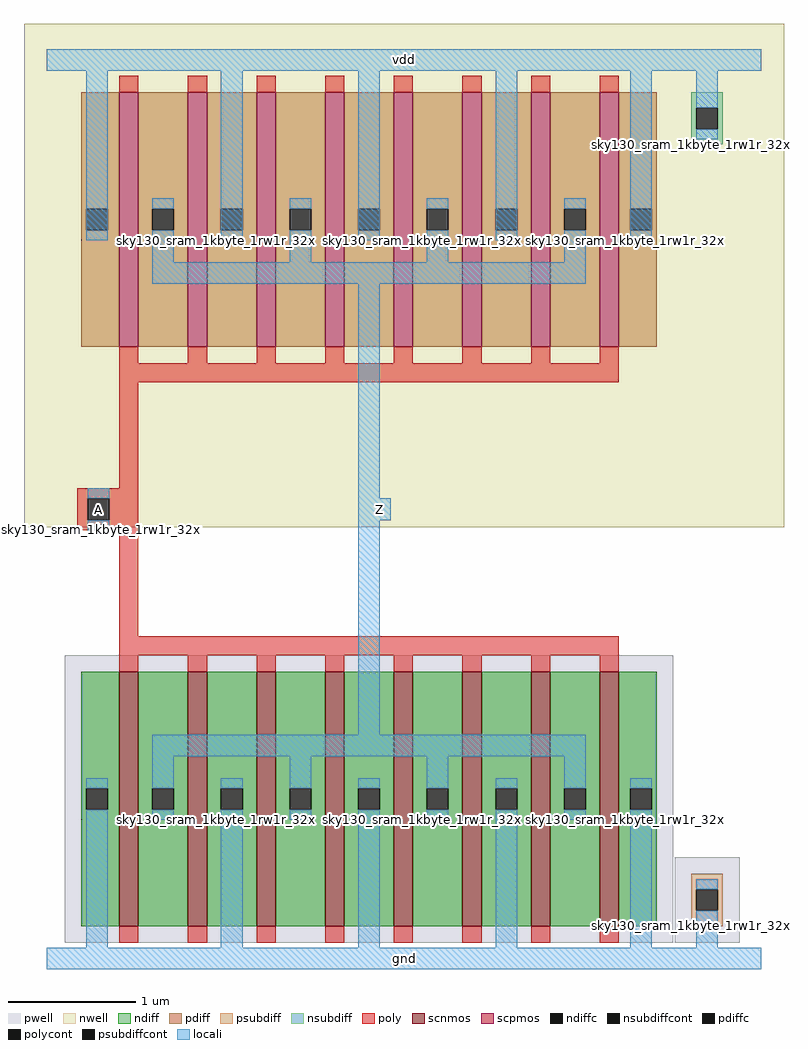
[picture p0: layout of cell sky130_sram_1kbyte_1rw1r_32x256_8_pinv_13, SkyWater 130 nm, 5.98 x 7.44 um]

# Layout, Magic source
magic
tech sky130A
magscale 1 2
<< nwell >>
rect -36 679 1160 1471
<< pwell >>
rect 988 25 1090 159
<< psubdiff >>
rect 1014 109 1064 133
rect 1014 75 1022 109
rect 1056 75 1064 109
rect 1014 51 1064 75
<< nsubdiff >>
rect 1014 1339 1064 1363
rect 1014 1305 1022 1339
rect 1056 1305 1064 1339
rect 1014 1281 1064 1305
<< psubdiffcont >>
rect 1022 75 1056 109
<< nsubdiffcont >>
rect 1022 1305 1056 1339
<< poly >>
rect 114 740 144 907
rect 48 724 144 740
rect 48 690 64 724
rect 98 690 144 724
rect 48 674 144 690
rect 114 507 144 674
<< polycont >>
rect 64 690 98 724
<< locali >>
rect 0 1397 1124 1431
rect 62 1130 96 1397
rect 274 1130 308 1397
rect 490 1130 524 1397
rect 706 1130 740 1397
rect 918 1130 952 1397
rect 1022 1339 1056 1397
rect 1022 1289 1056 1305
rect 64 724 98 740
rect 64 674 98 690
rect 490 724 524 1096
rect 490 690 541 724
rect 490 318 524 690
rect 62 17 96 218
rect 274 17 308 218
rect 490 17 524 218
rect 706 17 740 218
rect 918 17 952 218
rect 1022 109 1056 125
rect 1022 17 1056 75
rect 0 -17 1124 17
use sky130_sram_1kbyte_1rw1r_32x256_8_contact_16  sky130_sram_1kbyte_1rw1r_32x256_8_contact_16_0
transform 1 0 48 0 1 674
box 0 0 1 1
use sky130_sram_1kbyte_1rw1r_32x256_8_contact_29  sky130_sram_1kbyte_1rw1r_32x256_8_contact_29_0
transform 1 0 1014 0 1 51
box 0 0 1 1
use sky130_sram_1kbyte_1rw1r_32x256_8_contact_28  sky130_sram_1kbyte_1rw1r_32x256_8_contact_28_0
transform 1 0 1014 0 1 1281
box 0 0 1 1
use sky130_sram_1kbyte_1rw1r_32x256_8_nmos_m8_w2_000_sli_dli_da_p  sky130_sram_1kbyte_1rw1r_32x256_8_nmos_m8_w2_000_sli_dli_da_p_0
transform 1 0 54 0 1 51
box -26 -26 932 456
use sky130_sram_1kbyte_1rw1r_32x256_8_pmos_m8_w2_000_sli_dli_da_p  sky130_sram_1kbyte_1rw1r_32x256_8_pmos_m8_w2_000_sli_dli_da_p_0
transform 1 0 54 0 1 963
box -59 -56 965 454
<< labels >>
rlabel locali s 81 707 81 707 4 A
port 1 nsew
rlabel locali s 524 707 524 707 4 Z
port 2 nsew
rlabel locali s 562 0 562 0 4 gnd
port 3 nsew
rlabel locali s 562 1414 562 1414 4 vdd
port 4 nsew
<< properties >>
string FIXED_BBOX 0 0 1124 1414
string GDS_FILE $PDKPATH/libs.ref/sky130_sram_macros/gds/sky130_sram_1kbyte_1rw1r_32x256_8.gds
string GDS_END 367846
string GDS_START 365464
<< end >>

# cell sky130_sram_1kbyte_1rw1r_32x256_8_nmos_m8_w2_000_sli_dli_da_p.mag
magic
tech sky130A
magscale 1 2
<< pwell >>
rect -26 -26 932 426
<< scnmos >>
rect 60 0 90 400
rect 168 0 198 400
rect 276 0 306 400
rect 384 0 414 400
rect 492 0 522 400
rect 600 0 630 400
rect 708 0 738 400
rect 816 0 846 400
<< ndiff >>
rect 0 217 60 400
rect 0 183 8 217
rect 42 183 60 217
rect 0 0 60 183
rect 90 217 168 400
rect 90 183 112 217
rect 146 183 168 217
rect 90 0 168 183
rect 198 217 276 400
rect 198 183 220 217
rect 254 183 276 217
rect 198 0 276 183
rect 306 217 384 400
rect 306 183 328 217
rect 362 183 384 217
rect 306 0 384 183
rect 414 217 492 400
rect 414 183 436 217
rect 470 183 492 217
rect 414 0 492 183
rect 522 217 600 400
rect 522 183 544 217
rect 578 183 600 217
rect 522 0 600 183
rect 630 217 708 400
rect 630 183 652 217
rect 686 183 708 217
rect 630 0 708 183
rect 738 217 816 400
rect 738 183 760 217
rect 794 183 816 217
rect 738 0 816 183
rect 846 217 906 400
rect 846 183 864 217
rect 898 183 906 217
rect 846 0 906 183
<< ndiffc >>
rect 8 183 42 217
rect 112 183 146 217
rect 220 183 254 217
rect 328 183 362 217
rect 436 183 470 217
rect 544 183 578 217
rect 652 183 686 217
rect 760 183 794 217
rect 864 183 898 217
<< poly >>
rect 60 426 846 456
rect 60 400 90 426
rect 168 400 198 426
rect 276 400 306 426
rect 384 400 414 426
rect 492 400 522 426
rect 600 400 630 426
rect 708 400 738 426
rect 816 400 846 426
rect 60 -26 90 0
rect 168 -26 198 0
rect 276 -26 306 0
rect 384 -26 414 0
rect 492 -26 522 0
rect 600 -26 630 0
rect 708 -26 738 0
rect 816 -26 846 0
<< locali >>
rect 112 267 794 301
rect 8 217 42 233
rect 8 167 42 183
rect 112 217 146 267
rect 112 167 146 183
rect 220 217 254 233
rect 220 167 254 183
rect 328 217 362 267
rect 328 167 362 183
rect 436 217 470 233
rect 436 167 470 183
rect 544 217 578 267
rect 544 167 578 183
rect 652 217 686 233
rect 652 167 686 183
rect 760 217 794 267
rect 760 167 794 183
rect 864 217 898 233
rect 864 167 898 183
use sky130_sram_1kbyte_1rw1r_32x256_8_contact_11  sky130_sram_1kbyte_1rw1r_32x256_8_contact_11_0
transform 1 0 856 0 1 167
box 0 0 1 1
use sky130_sram_1kbyte_1rw1r_32x256_8_contact_11  sky130_sram_1kbyte_1rw1r_32x256_8_contact_11_1
transform 1 0 752 0 1 167
box 0 0 1 1
use sky130_sram_1kbyte_1rw1r_32x256_8_contact_11  sky130_sram_1kbyte_1rw1r_32x256_8_contact_11_2
transform 1 0 644 0 1 167
box 0 0 1 1
use sky130_sram_1kbyte_1rw1r_32x256_8_contact_11  sky130_sram_1kbyte_1rw1r_32x256_8_contact_11_3
transform 1 0 536 0 1 167
box 0 0 1 1
use sky130_sram_1kbyte_1rw1r_32x256_8_contact_11  sky130_sram_1kbyte_1rw1r_32x256_8_contact_11_4
transform 1 0 428 0 1 167
box 0 0 1 1
use sky130_sram_1kbyte_1rw1r_32x256_8_contact_11  sky130_sram_1kbyte_1rw1r_32x256_8_contact_11_5
transform 1 0 320 0 1 167
box 0 0 1 1
use sky130_sram_1kbyte_1rw1r_32x256_8_contact_11  sky130_sram_1kbyte_1rw1r_32x256_8_contact_11_6
transform 1 0 212 0 1 167
box 0 0 1 1
use sky130_sram_1kbyte_1rw1r_32x256_8_contact_11  sky130_sram_1kbyte_1rw1r_32x256_8_contact_11_7
transform 1 0 104 0 1 167
box 0 0 1 1
use sky130_sram_1kbyte_1rw1r_32x256_8_contact_11  sky130_sram_1kbyte_1rw1r_32x256_8_contact_11_8
transform 1 0 0 0 1 167
box 0 0 1 1
<< labels >>
rlabel locali s 453 200 453 200 4 S
port 1 nsew
rlabel locali s 669 200 669 200 4 S
port 1 nsew
rlabel locali s 881 200 881 200 4 S
port 1 nsew
rlabel locali s 25 200 25 200 4 S
port 1 nsew
rlabel locali s 237 200 237 200 4 S
port 1 nsew
rlabel locali s 453 284 453 284 4 D
port 2 nsew
rlabel poly s 453 441 453 441 4 G
port 3 nsew
<< properties >>
string FIXED_BBOX -25 -26 931 456
string GDS_FILE $PDKPATH/libs.ref/sky130_sram_macros/gds/sky130_sram_1kbyte_1rw1r_32x256_8.gds
string GDS_END 119546
string GDS_START 117096
<< end >>

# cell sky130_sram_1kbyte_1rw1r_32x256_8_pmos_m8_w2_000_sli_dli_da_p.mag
magic
tech sky130A
magscale 1 2
<< nwell >>
rect -54 284 960 454
rect -59 116 965 284
rect -54 -54 960 116
<< scpmos >>
rect 60 0 90 400
rect 168 0 198 400
rect 276 0 306 400
rect 384 0 414 400
rect 492 0 522 400
rect 600 0 630 400
rect 708 0 738 400
rect 816 0 846 400
<< pdiff >>
rect 0 217 60 400
rect 0 183 8 217
rect 42 183 60 217
rect 0 0 60 183
rect 90 217 168 400
rect 90 183 112 217
rect 146 183 168 217
rect 90 0 168 183
rect 198 217 276 400
rect 198 183 220 217
rect 254 183 276 217
rect 198 0 276 183
rect 306 217 384 400
rect 306 183 328 217
rect 362 183 384 217
rect 306 0 384 183
rect 414 217 492 400
rect 414 183 436 217
rect 470 183 492 217
rect 414 0 492 183
rect 522 217 600 400
rect 522 183 544 217
rect 578 183 600 217
rect 522 0 600 183
rect 630 217 708 400
rect 630 183 652 217
rect 686 183 708 217
rect 630 0 708 183
rect 738 217 816 400
rect 738 183 760 217
rect 794 183 816 217
rect 738 0 816 183
rect 846 217 906 400
rect 846 183 864 217
rect 898 183 906 217
rect 846 0 906 183
<< pdiffc >>
rect 8 183 42 217
rect 112 183 146 217
rect 220 183 254 217
rect 328 183 362 217
rect 436 183 470 217
rect 544 183 578 217
rect 652 183 686 217
rect 760 183 794 217
rect 864 183 898 217
<< poly >>
rect 60 400 90 426
rect 168 400 198 426
rect 276 400 306 426
rect 384 400 414 426
rect 492 400 522 426
rect 600 400 630 426
rect 708 400 738 426
rect 816 400 846 426
rect 60 -26 90 0
rect 168 -26 198 0
rect 276 -26 306 0
rect 384 -26 414 0
rect 492 -26 522 0
rect 600 -26 630 0
rect 708 -26 738 0
rect 816 -26 846 0
rect 60 -56 846 -26
<< locali >>
rect 8 217 42 233
rect 8 167 42 183
rect 112 217 146 233
rect 112 133 146 183
rect 220 217 254 233
rect 220 167 254 183
rect 328 217 362 233
rect 328 133 362 183
rect 436 217 470 233
rect 436 167 470 183
rect 544 217 578 233
rect 544 133 578 183
rect 652 217 686 233
rect 652 167 686 183
rect 760 217 794 233
rect 760 133 794 183
rect 864 217 898 233
rect 864 167 898 183
rect 112 99 794 133
use sky130_sram_1kbyte_1rw1r_32x256_8_contact_12  sky130_sram_1kbyte_1rw1r_32x256_8_contact_12_0
transform 1 0 856 0 1 167
box 0 0 1 1
use sky130_sram_1kbyte_1rw1r_32x256_8_contact_12  sky130_sram_1kbyte_1rw1r_32x256_8_contact_12_1
transform 1 0 752 0 1 167
box 0 0 1 1
use sky130_sram_1kbyte_1rw1r_32x256_8_contact_12  sky130_sram_1kbyte_1rw1r_32x256_8_contact_12_2
transform 1 0 644 0 1 167
box 0 0 1 1
use sky130_sram_1kbyte_1rw1r_32x256_8_contact_12  sky130_sram_1kbyte_1rw1r_32x256_8_contact_12_3
transform 1 0 536 0 1 167
box 0 0 1 1
use sky130_sram_1kbyte_1rw1r_32x256_8_contact_12  sky130_sram_1kbyte_1rw1r_32x256_8_contact_12_4
transform 1 0 428 0 1 167
box 0 0 1 1
use sky130_sram_1kbyte_1rw1r_32x256_8_contact_12  sky130_sram_1kbyte_1rw1r_32x256_8_contact_12_5
transform 1 0 320 0 1 167
box 0 0 1 1
use sky130_sram_1kbyte_1rw1r_32x256_8_contact_12  sky130_sram_1kbyte_1rw1r_32x256_8_contact_12_6
transform 1 0 212 0 1 167
box 0 0 1 1
use sky130_sram_1kbyte_1rw1r_32x256_8_contact_12  sky130_sram_1kbyte_1rw1r_32x256_8_contact_12_7
transform 1 0 104 0 1 167
box 0 0 1 1
use sky130_sram_1kbyte_1rw1r_32x256_8_contact_12  sky130_sram_1kbyte_1rw1r_32x256_8_contact_12_8
transform 1 0 0 0 1 167
box 0 0 1 1
<< labels >>
rlabel locali s 453 200 453 200 4 S
port 1 nsew
rlabel locali s 669 200 669 200 4 S
port 1 nsew
rlabel locali s 881 200 881 200 4 S
port 1 nsew
rlabel locali s 25 200 25 200 4 S
port 1 nsew
rlabel locali s 237 200 237 200 4 S
port 1 nsew
rlabel locali s 453 116 453 116 4 D
port 2 nsew
rlabel poly s 453 -41 453 -41 4 G
port 3 nsew
<< properties >>
string FIXED_BBOX -54 -56 960 116
string GDS_FILE $PDKPATH/libs.ref/sky130_sram_macros/gds/sky130_sram_1kbyte_1rw1r_32x256_8.gds
string GDS_END 122154
string GDS_START 119640
<< end >>
